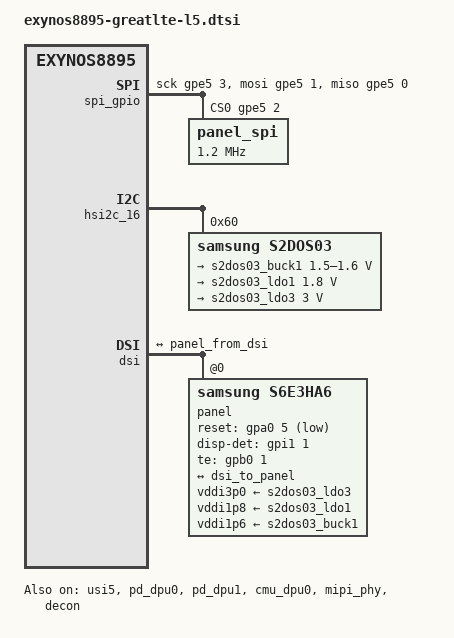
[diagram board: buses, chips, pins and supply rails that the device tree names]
// SPDX-License-Identifier: GPL-2.0 OR BSD-3-Clause
/*
 * Samsung Galaxy Note 8 (greatlte, SM-N950N) board DT, part "l5":
 * L5 display: DECON/DSIM/panel (L5 4).
 *
 * Included at the end of exynos8895-greatlte.dts, after L0's nodes, in the merge
 * order of FULL_IMAGE_PLAN.md 2.2. Owner: WP-L5; no other work package edits this
 * file (plan 2.3 rule D1). A node that two parts both configure (&usi9, &usi10)
 * is written identically in both files: dtc lets the later file win on a differing
 * value, which gl-verify V-DUP reports as an error. L0's reserved-memory stays in
 * the .dts; carveout additions and flag changes are &label edits here (plan X-8).
 */

#include <dt-bindings/gpio/gpio.h>
#include <dt-bindings/soc/samsung,exynos-usi.h>

/*
 * S2DOS03 display PMIC on hsi2c_16 (usi5), address 0x60 (spec/L5_display.md 4.8):
 * the panel rails vdd_ddi_1p6 (buck1), vdd_ddi_1p8 (ldo1), vdd_ddi_3p0 (ldo3),
 * all left on by S-Boot. ldo2 "HRM_1.8V_AP" and ldo4 "HRM_3.3V_AP" (FDT:5550-5560)
 * belong to the HRM sensor (L6) and are added by its layer through &s2dos03.
 */
&usi5 {
	samsung,mode = <USI_MODE_I2C0_1>;	/* FDT:5021-5026 usi_mode = "hsi2c0_hsi2c1" = SW_CONF 0x3 (S:drivers/soc/samsung/usi.c:20,37) */
	status = "okay";
};

&hsi2c_16 {
	#address-cells = <1>;			/* FDT:5510 */
	#size-cells = <0>;
	status = "okay";			/* FDT:5519; hsi2c_15 stays disabled, FDT:5502 */

	s2dos03: pmic@60 {
		compatible = "samsung,s2dos03";	/* vendor "samsung,s2dos03pmic" FDT:5522 */
		reg = <0x60>;			/* FDT:5523 */

		regulators {
			s2dos03_buck1: buck1 {
				regulator-name = "vdd_ddi_1p6";		/* FDT:5529 */
				regulator-min-microvolt = <1500000>;	/* FDT:5530 0x16e360 */
				regulator-max-microvolt = <1600000>;	/* FDT:5531 0x186a00 */
				regulator-boot-on;			/* FDT:5532 */
			};

			s2dos03_ldo1: ldo1 {
				regulator-name = "vdd_ddi_1p8";		/* FDT:5536 */
				regulator-min-microvolt = <1800000>;	/* FDT:5537 0x1b7740 */
				regulator-max-microvolt = <1800000>;
				regulator-boot-on;			/* FDT:5539 */
			};

			s2dos03_ldo3: ldo3 {
				regulator-name = "vdd_ddi_3p0";		/* FDT:5543 */
				regulator-min-microvolt = <3000000>;	/* FDT:5544 0x2dc6c0 */
				regulator-max-microvolt = <3000000>;
				regulator-boot-on;			/* FDT:5546 */
			};
		};
	};
};

/*
 * S-Boot's "lcd_buffer" (spec/L5_display.md 4.1): it keeps 0xcc000000-0xcd400000
 * out of its DRAM test and scans its logo out of it; the framebuffer address it
 * passes on the command line is the same constant. no-map, and identity-mapped
 * for the DECON's IOMMU domain before translation is ever enabled
 * (A:drivers/iommu/of_iommu.c:206-270: IOMMU_RESV_DIRECT when iova == phys and
 * the length equals the region). soc@0 has one address and one size cell.
 */
&{/reserved-memory} {
	splash_mem: framebuffer@cc000000 {
		reg = <0x0 0xcc000000 0x1400000>;	/* SB:0xc9017a04 mov x1,#0xcc000000; SB:0xc9017a08 mov x2,#0xcd400000 */
		no-map;
		iommu-addresses = <&decon 0xcc000000 0x1400000>;
	};
};

/*
 * Simple-framebuffer over the live splash (spec/L5_display.md 4.2, stage 5a).
 * Disabled: the DRM driver owns the display in this image. It is the "keep
 * splash" kill switch of FULL_IMAGE_PLAN.md 3.3 (set it okay and disable the
 * DECON, the DSIM and the display System MMUs). reg, not memory-region, so
 * simplefb sizes the aperture as the 1440x2960x4 picture.
 */
&{/chosen} {
	#address-cells = <2>;
	#size-cells = <1>;
	ranges;

	framebuffer0: framebuffer@cc000000 {
		compatible = "simple-framebuffer";
		reg = <0x0 0xcc000000 (1440 * 2960 * 4)>;	/* SB:0xc9009fb4 mov w2,#-0x34000000 -> " s3cfb.bootloaderfb=0x%x" SB:0xc9088938 */
		width = <1440>;					/* FDT:10082 resolution = <0x5a0 0xb90> */
		height = <2960>;
		stride = <(1440 * 4)>;
		format = "a8r8g8b8";				/* vendor fb BGRA_8888 (S:drivers/video/fbdev/exynos/dpu/decon_core.c:4079) */
		power-domains = <&pd_dpu0>, <&pd_dpu1>;
		vddi3p0-supply = <&s2dos03_ldo3>;
		vddi1p8-supply = <&s2dos03_ldo1>;
		vddi1p6-supply = <&s2dos03_buck1>;
		status = "disabled";
	};
};

/*
 * Display pipeline (spec/L5_display.md 4.3-4.7): power domains, CMU_DPU0 (gate
 * policy of L5 4.9 in its driver), MIPI D-PHY, the three display System MMUs,
 * DECON0, DSIM0 and the S6E3HA6 panel.
 */
&pd_dpu0 { status = "okay"; };
&pd_dpu1 { status = "okay"; };
&cmu_dpu0 { status = "okay"; };
&mipi_phy { status = "okay"; };
&sysmmu_dpu0 { status = "okay"; };
&sysmmu_dpu1 { status = "okay"; };
&sysmmu_dpu2 { status = "okay"; };

/* DECON0 TE input gpb0-1: EINT while the display is on, input when off (FDT:2924-2936) */
&pinctrl_peric1 {
	decon_f_te_on: decon-f-te-on-pins {
		samsung,pins = "gpb0-1";				/* FDT:2925 */
		samsung,pin-function = <EXYNOS_PIN_FUNC_EINT>;		/* FDT:2926 <0x0f> */
	};

	decon_f_te_off: decon-f-te-off-pins {
		samsung,pins = "gpb0-1";				/* FDT:2932 */
		samsung,pin-function = <EXYNOS_PIN_FUNC_INPUT>;		/* FDT:2933 <0x00> */
	};
};

&decon {
	memory-region = <&splash_mem>;		/* its iommu-addresses: identity map of the splash */
	pinctrl-names = "default", "sleep";
	pinctrl-0 = <&decon_f_te_on>;		/* vendor "hw_te_on" FDT:7534-7535 */
	pinctrl-1 = <&decon_f_te_off>;		/* vendor "hw_te_off" FDT:7536 */
	status = "okay";

	/*
	 * CAM running status for the hibernation enter check (stock "cam-stat"
	 * child of decon_f, FDT:7555-7557, S:drivers/video/fbdev/exynos/dpu/
	 * decon_core.c:3869-3876; PMU bit, always readable): hibernation
	 * engages only with bits [3:0] clear. The unit address silences
	 * unit_address_vs_reg; of_get_child_by_name() ignores it.
	 */
	cam-stat@16484024 {
		reg = <0x00 0x16484024 0x04>;
	};
};

/* DSIM0 link values of the panel's DDI node (FDT:10079-10114) */
&dsi {
	samsung,burst-clock-frequency = <898000000>;	/* FDT:10087 timing,dsi-hs-clk = <0x382> */
	samsung,esc-clock-frequency = <20000000>;	/* FDT:10089 timing,dsi-escape-clk = <0x14> */
	samsung,cmd-underrun-lp-ref = <0xbce>;		/* FDT:10099 cmd_underrun_lp_ref = <0xbce> */
	status = "okay";

	ports {
		port@1 {
			reg = <1>;

			dsi_to_panel: endpoint {
				remote-endpoint = <&panel_from_dsi>;
				data-lanes = <1 2 3 4>;		/* FDT:10098 data_lane = <0x04> */
			};
		};
	};

	/* labelled for the touch panel follower (L6F REQ-L5-F1) */
	panel: panel@0 {
		compatible = "samsung,s6e3ha6";
		reg = <0>;					/* virtual channel 0 (S:drivers/video/fbdev/exynos/dpu/dsim_reg.c:1354) */
		reset-gpios = <&gpa0 5 GPIO_ACTIVE_LOW>;	/* FDT:11986 gpio,lcd-reset = <0x90 0x05 0x01> */
		disp-det-gpios = <&gpi1 1 GPIO_ACTIVE_HIGH>;	/* FDT:11987 gpio,disp-det = <0x8a 0x01 0x00> */
		te-gpios = <&gpb0 1 GPIO_ACTIVE_HIGH>;		/* vendor DECON gpios = <gpb0 1 0xf> FDT:7549 */
		vddi3p0-supply = <&s2dos03_ldo3>;		/* FDT:11988 "vdd_ddi_3p0" */
		vddi1p8-supply = <&s2dos03_ldo1>;		/* FDT:11989 "vdd_ddi_1p8" */
		vddi1p6-supply = <&s2dos03_buck1>;		/* FDT:11990 "vdd_ddi_1p6" */
		width-mm = <71>;				/* FDT:10083 size = <0x47 0x91> */
		height-mm = <145>;

		port {
			panel_from_dsi: endpoint {
				remote-endpoint = <&dsi_to_panel>;
			};
		};
	};
};

/*
 * The panel's SPI port, bit-banged on gpe5 (spi_gpio + panel_spi@0,
 * FDT:10268-10284; L5 9.4 e, l5-ext DESIGN 2.2): the vendor COPR reads go
 * over it. The vendor gpio-sck/gpio-miso/gpio-mosi properties are the 6.18
 * spi-gpio binding's sck-/miso-/mosi-gpios; gpe5 = phandle 0x58 (FDT:2062-2069),
 * flags 0 = active high. hsi2c13/14, the other users of gpe5-0..3, are
 * disabled (FDT:5468, 5485).
 */
/ {
	spi_gpio: spi {
		compatible = "spi-gpio";
		#address-cells = <1>;
		#size-cells = <0>;
		sck-gpios = <&gpe5 3 GPIO_ACTIVE_HIGH>;
		miso-gpios = <&gpe5 0 GPIO_ACTIVE_HIGH>;
		mosi-gpios = <&gpe5 1 GPIO_ACTIVE_HIGH>;
		cs-gpios = <&gpe5 2 GPIO_ACTIVE_HIGH>;
		num-chipselects = <1>;

		panel_spi@0 {
			compatible = "panel_spi";
			reg = <0>;
			spi-max-frequency = <1200000>;	/* FDT:10281 0x124f80 */
			bits-per-word = <8>;
		};
	};
};
